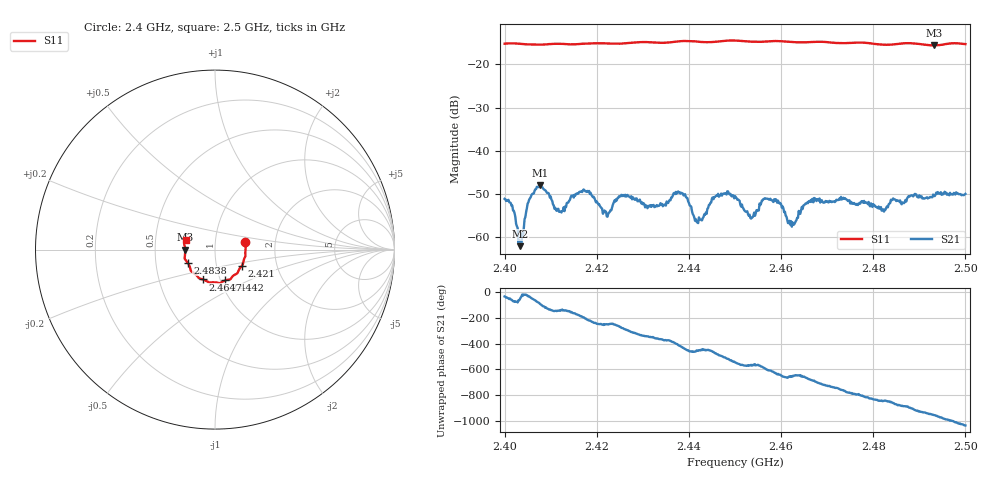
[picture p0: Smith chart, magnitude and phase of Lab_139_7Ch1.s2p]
# Hz S RI R 50
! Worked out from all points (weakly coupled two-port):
!   601 points, 2.4 GHz to 2.5 GHz, reference 50 ohm
!   highest |S21| = -47.92 dB at 2.4077 GHz (marker M1); lowest = -62.0 dB at 2.4033 GHz (marker M2)
!   lowest |S11| = -15.6 dB at 2.4932 GHz (marker M3), VSWR 1.40, Z = 35.8 - j0.0954 ohm
!   |S11| at or under -10 dB: start of sweep to end of sweep
!   S12 and S22 are empty: the file has one direction only
!   S11 on the Smith chart (normalised r, x): 2.4 GHz: 1.40, +0.12; 2.421 GHz: 1.33, -0.24; 2.4442 GHz: 1.05, -0.37; 2.4647 GHz: 0.83, -0.29; 2.4838 GHz: 0.73, -0.11; 2.5 GHz: 0.72, +0.08
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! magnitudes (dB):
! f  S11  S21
! 2.4 GHz  -15.2  -51.1
! 2.4017 GHz  -15.1  -52.6
! 2.4033 GHz  -15.2  -62.0
! 2.4053 GHz  -15.4  -51.2
! 2.4077 GHz  -15.4  -47.9
! 2.4122 GHz  -15.3  -54.0
! 2.4167 GHz  -15.3  -49.3
! 2.421 GHz  -15.1  -53.2
! 2.4333 GHz  -15.0  -52.7
! 2.438 GHz  -14.7  -49.5
! 2.4415 GHz  -14.7  -55.8
! 2.4442 GHz  -14.9  -53.2
! 2.45 GHz  -14.5  -50.4
! 2.4535 GHz  -14.7  -55.7
! 2.459 GHz  -14.6  -51.4
! 2.4625 GHz  -14.8  -56.5
! 2.4647 GHz  -14.9  -53.4
! 2.4667 GHz  -14.8  -51.2
! 2.4833 GHz  -15.5  -52.4
! 2.4838 GHz  -15.4  -51.3
! 2.4932 GHz  -15.6  -50.3
! 2.5 GHz  -15.3  -49.9
